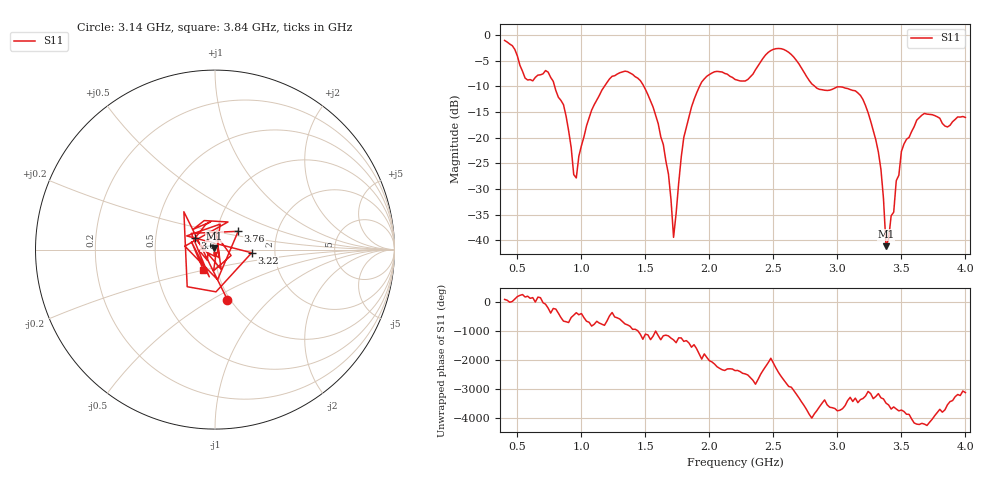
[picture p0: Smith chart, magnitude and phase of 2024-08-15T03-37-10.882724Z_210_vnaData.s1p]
!Created with skrf (http://scikit-rf.org).
# Hz S RI R 50.0
!freq ReS11 ImS11
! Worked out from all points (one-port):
!   181 points, 400 MHz to 4 GHz, reference 50 ohm
!   lowest |S11| = -41.1 dB at 3.38 GHz (marker M1), VSWR 1.02, Z = 49.7 + j0.813 ohm
!   |S11| at or under -10 dB: 791.2 MHz to 1.179 GHz (388.2 MHz wide, 39.4 % of centre); 1.488 GHz to 1.923 GHz (434.7 MHz wide, 25.5 % of centre); 2.824 GHz to end of sweep
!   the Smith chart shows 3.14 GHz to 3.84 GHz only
!   S11 on the Smith chart (normalised r, x): 3.14 GHz: 0.97, -0.59; 3.22 GHz: 1.51, -0.06; 3.6 GHz: 0.79, +0.10; 3.76 GHz: 1.27, +0.26; 3.84 GHz: 0.86, -0.20
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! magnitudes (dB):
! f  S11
! 400 MHz  -1.1
! 580 MHz  -8.8
! 740 MHz  -7.2
! 860 MHz  -13.6
! 960 MHz  -27.8
! 1.08 GHz  -14.6
! 1.3 GHz  -7.3
! 1.56 GHz  -14.0
! 1.68 GHz  -27.1
! 1.72 GHz  -39.4
! 1.76 GHz  -28.8
! 1.8 GHz  -19.9
! 1.94 GHz  -9.1
! 2.2 GHz  -8.6
! 2.5 GHz  -2.8
! 2.66 GHz  -4.3
! 2.84 GHz  -10.4
! 3.1 GHz  -10.6
! 3.14 GHz  -10.9
! 3.22 GHz  -13.8
! 3.34 GHz  -26.1
! 3.38 GHz  -41.1
! 3.5 GHz  -22.7
! 3.56 GHz  -19.9
! 3.6 GHz  -17.8
! 3.76 GHz  -15.7
! 3.84 GHz  -17.7
! 4 GHz  -16.0
